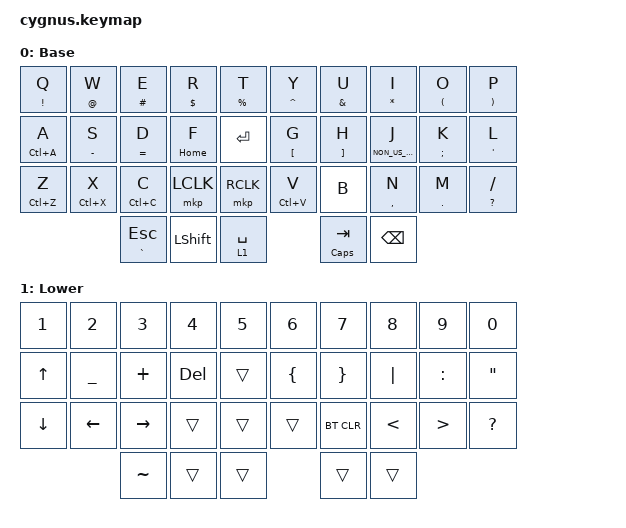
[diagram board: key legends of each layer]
#include <behaviors.dtsi>
#include <dt-bindings/zmk/bt.h>
#include <dt-bindings/zmk/keys.h>
#include <dt-bindings/zmk/mouse.h>

&lt {
    tapping-term-ms = <240>;
    flavor = "balanced";
    quick-tap-ms = <150>;
};

&mt {
    global-quick-tap;
    flavor = "tap-preferred";
    tapping-term-ms = <200>;
};

&sk {
    release-after-ms = <2000>;
    quick-release;
};

/ {
    macros {
        dongle_bootload_macro: bootload_macro {
            compatible = "zmk,behavior-macro";
            #binding-cells = <0>;
            bindings = <&bootloader>;
            label = "BOOTLOAD_MACRO";
        };
    };

    combos {
        compatible = "zmk,combos";

        combo_esc {
            timeout-ms = <50>;
            key-positions = <0 1>;
            bindings = <&kp ESC>;
        };

        left_bkt {
            bindings = <&kp LEFT_BRACKET>;
            key-positions = <2 3>;
            timeout-ms = <50>;
        };

        right_bkt {
            bindings = <&kp RIGHT_BRACKET>;
            key-positions = <8 9>;
            timeout-ms = <50>;
        };

        left_par {
            bindings = <&kp LEFT_PARENTHESIS>;
            key-positions = <15 16>;
            timeout-ms = <50>;
        };

        right_par {
            bindings = <&kp RIGHT_PARENTHESIS>;
            key-positions = <19 20>;
            timeout-ms = <50>;
        };

        left_brace {
            bindings = <&kp LEFT_BRACE>;
            key-positions = <27 28>;
            timeout-ms = <50>;
        };

        right_brace {
            bindings = <&kp RIGHT_BRACE>;
            key-positions = <31 32>;
            timeout-ms = <50>;
        };

        bac {
            bindings = <&kp BACKSLASH>;
            key-positions = <5 6>;
            timeout-ms = <50>;
        };

        pipe {
            bindings = <&kp PIPE>;
            key-positions = <17 18>;
            timeout-ms = <50>;
        };
    };

    behaviors {
        hm: homerow_mods {
            compatible = "zmk,behavior-hold-tap";
            label = "HOMEROW_MODS";
            bindings = <&kp>, <&kp>;

            #binding-cells = <2>;
            tapping-term-ms = <200>;
            quick-tap-ms = <180>;
            flavor = "tap-preferred";
        };

        ltq: ltq {
            compatible = "zmk,behavior-hold-tap";
            label = "LTQ";
            bindings = <&mo>, <&kp>;

            #binding-cells = <2>;
            tapping-term-ms = <200>;
            quick-tap-ms = <180>;
        };

        as: auto_shift {
            compatible = "zmk,behavior-hold-tap";
            label = "AUTO_SHIFT";
            bindings = <&kp>, <&kp>;

            #binding-cells = <2>;
            tapping-term-ms = <135>;
            quick-tap-ms = <0>;
        };
    };

    keymap {
        compatible = "zmk,keymap";

        Base {
            label = "Base";
            bindings = <
&hm EXCLAMATION Q  &hm AT_SIGN W  &hm HASH E     &hm DOLLAR R    &hm PERCENT T  &as CARET Y         &hm AMPERSAND U      &hm ASTERISK I          &hm LEFT_PARENTHESIS O  &hm RIGHT_PARENTHESIS P
&hm LC(A) A        &hm MINUS S    &hm EQUAL D    &hm HOME F      &kp ENTER      &hm LEFT_BRACKET G  &hm RIGHT_BRACKET H  &hm NON_US_BACKSLASH J  &hm SEMICOLON K         &hm APOSTROPHE L
&hm LC(Z) Z        &hm LC(X) X    &hm LC(C) C    &mkp LCLK       &mkp RCLK      &hm LC(V) V         &kp B                &hm COMMA N             &hm PERIOD M            &as QUESTION SLASH
                                  &hm GRAVE ESC  &kp LEFT_SHIFT  &ltq 1 SPACE                       &hm CAPSLOCK TAB     &kp BACKSPACE
            >;
        };

        Lower {
            label = "Lower";
            bindings = <
&kp NUMBER_1    &kp NUMBER_2    &kp NUMBER_3     &kp NUMBER_4  &kp N5  &kp NUMBER_6    &kp N7           &kp N8         &kp N9            &kp NUMBER_0
&kp UP_ARROW    &kp UNDERSCORE  &kp PLUS         &kp DELETE    &trans  &kp LEFT_BRACE  &kp RIGHT_BRACE  &kp PIPE       &kp COLON         &kp DOUBLE_QUOTES
&kp DOWN_ARROW  &kp LEFT_ARROW  &kp RIGHT_ARROW  &trans        &trans  &trans          &bt BT_CLR       &kp LESS_THAN  &kp GREATER_THAN  &kp QUESTION
                                &kp TILDE        &trans        &trans                  &trans           &trans
            >;
        };
    };

    conditional_layers {
        compatible = "zmk,conditional-layers";

        game {
            if-layers = <2 2>;
            then-layer = <2>;
        };
    };
};
